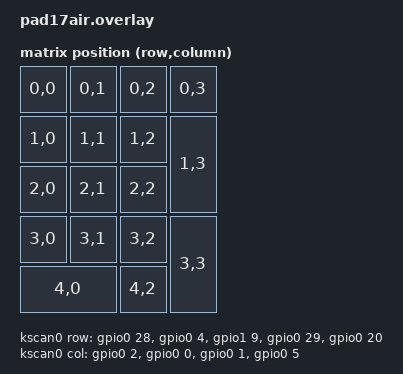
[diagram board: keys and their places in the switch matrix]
// overlay for pad17air keyboard


#include <dt-bindings/zmk/matrix_transform.h>
#include <physical_layouts.dtsi>

/* keyboard matrix configuration */
/ {
    chosen {
        zmk,physical-layout = &pad17air_layout; 
    };

    kscan0: kscan {        
		compatible = "zmk,kscan-gpio-matrix";
		label = "KSCAN";
        wakeup-source;
        diode-direction = "col2row"; // 设置二极管方向为列到行

        //row-gpios for MCU input pins
        row-gpios 
            = <&gpio0 28 (GPIO_ACTIVE_HIGH | GPIO_PULL_DOWN)> // row 0
            , <&gpio0 4  (GPIO_ACTIVE_HIGH | GPIO_PULL_DOWN)> // row 1
            , <&gpio1 9  (GPIO_ACTIVE_HIGH | GPIO_PULL_DOWN)> // row 2
            , <&gpio0 29 (GPIO_ACTIVE_HIGH | GPIO_PULL_DOWN)> // row 3
            , <&gpio0 20 (GPIO_ACTIVE_HIGH | GPIO_PULL_DOWN)> // row 4
            ;

        // col-gpios for MCU output pins
        col-gpios
            = <&gpio0 2  GPIO_ACTIVE_HIGH> // col 0
            , <&gpio0 0  GPIO_ACTIVE_HIGH> // col 1
            , <&gpio0 1  GPIO_ACTIVE_HIGH> // col 2
            , <&gpio0 5  GPIO_ACTIVE_HIGH> // col 3
            ;
	};
   
   default_transform: keymap_transform_0 {
        compatible = "zmk,matrix-transform";
		columns = <4>;
		rows = <5>;
        // ┌───┬───┬───┬───┐
        // │NUM│ / │ * │ - │
        // ├───┼───┼───┼───┤
        // │ 7 │ 8 │ 9 │ + │
        // ├───┼───┼───┤   │
        // │ 4 │ 5 │ 6 │   │
        // ├───┼───┼───┼───┤
        // │ 1 │ 2 │ 3 │RET│
        // ├───┴───┼───┤   │
        // │ 0     │ . │   │
        // └───────┴───┴───┘
		map = <
            RC(0,0) RC(0,1) RC(0,2) RC(0,3)
            RC(1,0) RC(1,1) RC(1,2) RC(1,3)
            RC(2,0) RC(2,1) RC(2,2) 
            RC(3,0) RC(3,1) RC(3,2) RC(3,3)
            RC(4,0)         RC(4,2) 
		>;
    };

    pad17air_layout: pad17air_layout {
		compatible = "zmk,physical-layout";
		display-name = "Pad17Air";
	    kscan = <&kscan0>;
		transform = <&default_transform>; 

        // mandotory for supporting ZMK Studio
        keys  //                     w   h    x    y     rot    rx    ry
            = <&key_physical_attrs 100 100    0    0       0     0     0>
            , <&key_physical_attrs 100 100  100    0       0     0     0>
            , <&key_physical_attrs 100 100  200    0       0     0     0>
            , <&key_physical_attrs 100 100  300    0       0     0     0>
            , <&key_physical_attrs 100 100    0  100       0     0     0>
            , <&key_physical_attrs 100 100  100  100       0     0     0>
            , <&key_physical_attrs 100 100  200  100       0     0     0>
            , <&key_physical_attrs 100 200  300  100       0     0     0>
            , <&key_physical_attrs 100 100    0  200       0     0     0>
            , <&key_physical_attrs 100 100  100  200       0     0     0>
            , <&key_physical_attrs 100 100  200  200       0     0     0>
            , <&key_physical_attrs 100 100    0  300       0     0     0>
            , <&key_physical_attrs 100 100  100  300       0     0     0>
            , <&key_physical_attrs 100 100  200  300       0     0     0>
            , <&key_physical_attrs 100 200  300  300       0     0     0>
            , <&key_physical_attrs 200 100    0  400       0     0     0>
            , <&key_physical_attrs 100 100  200  400       0     0     0>
            ;
    };


}; 




/*RGB LED support by SPI2 */

#include <dt-bindings/led/led.h> 

&pinctrl {
    spi2_default: spi2_default {
        group1 {
            psels = <
                NRF_PSEL(SPIM_SCK, 0, 6) //mandatory NO USE pin for SPI2 to work, even if not used
                NRF_PSEL(SPIM_MOSI, 0, 11)
            >;
            
        };
    };

    spi2_sleep: spi2_sleep {
        group1 {
             psels = <
                NRF_PSEL(SPIM_SCK, 0, 6) //mandatory NO USE pin for SPI2 to work, even if not used
                NRF_PSEL(SPIM_MOSI, 0, 11)
            >;
            low-power-enable;
        };
    };
};

&spi2 {
    compatible = "nordic,nrf-spim";
    status = "okay";

    pinctrl-0 = <&spi2_default>;
    pinctrl-1 = <&spi2_sleep>;
    pinctrl-names = "default", "sleep";

    led_strip: ws2812@0 {
        compatible = "worldsemi,ws2812-spi";

               reg = <0>; /* ignored, but necessary for SPI bindings */
        spi-max-frequency = <4000000>;

        /* WS2812 */
        chain-length = <17>; /* number of LEDs */
        spi-one-frame = <0x70>;
        spi-zero-frame = <0x40>;
        color-mapping = <LED_COLOR_ID_GREEN
                         LED_COLOR_ID_RED
                         LED_COLOR_ID_BLUE>;
    };
};

// / {
//     ex2: ext_power {
//         compatible = "zmk,ext-power-generic";
//         control-gpios = <&gpio0 15 GPIO_ACTIVE_HIGH>;
//         init-delay-ms = <50>;
//     };
// };
    // Node name must match original "EXT_POWER" label to preserve user settings.
/{
    chosen {
        // zmk,ext-power = &ex2;
        zmk,underglow = &led_strip;
    };

    EXT_POWER {
        compatible = "zmk,ext-power-generic";
        control-gpios = <&gpio0 15 GPIO_ACTIVE_HIGH>;
        init-delay-ms = <50>;
    };
};

/* State and bluetooth led support */

#include <dt-bindings/zmk/hid_indicators.h>

/ {
    leds {
        compatible = "gpio-leds";

        led0: led_0 {
            gpios = <&gpio0 3 GPIO_ACTIVE_HIGH>;
        };
        led1: led_1 {
            gpios = <&gpio0 31 GPIO_ACTIVE_HIGH>;
        };
        led2: led_2 {
            gpios = <&gpio0 31 GPIO_ACTIVE_HIGH>;
        };
    };

    aliases {  //for use outside device tree, e.g. in keymap
        led0 = &led0;
        led1 = &led1;
        led2 = &led2;
    };

    indicators {
        compatible = "zmk,indicator-leds";

        num_lock_indicator: num_lock {
            indicator = <HID_INDICATOR_NUM_LOCK>;
            leds = <&led0>;
        };

        //ble_led indicator has been added in ble.c to indicate bluetooth status
    };
};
